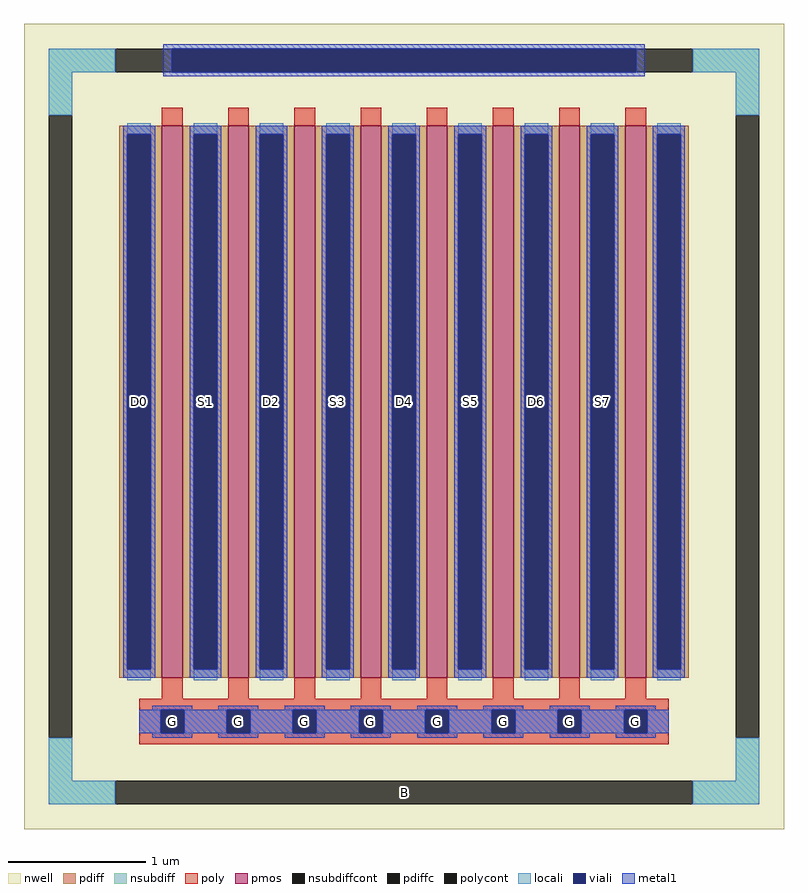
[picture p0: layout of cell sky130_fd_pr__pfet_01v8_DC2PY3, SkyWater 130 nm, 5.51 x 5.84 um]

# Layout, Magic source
magic
tech sky130A
magscale 1 2
<< nwell >>
rect -551 -584 551 584
<< pmos >>
rect -351 -364 -321 436
rect -255 -364 -225 436
rect -159 -364 -129 436
rect -63 -364 -33 436
rect 33 -364 63 436
rect 129 -364 159 436
rect 225 -364 255 436
rect 321 -364 351 436
<< pdiff >>
rect -413 424 -351 436
rect -413 -352 -401 424
rect -367 -352 -351 424
rect -413 -364 -351 -352
rect -321 424 -255 436
rect -321 -352 -305 424
rect -271 -352 -255 424
rect -321 -364 -255 -352
rect -225 424 -159 436
rect -225 -352 -209 424
rect -175 -352 -159 424
rect -225 -364 -159 -352
rect -129 424 -63 436
rect -129 -352 -113 424
rect -79 -352 -63 424
rect -129 -364 -63 -352
rect -33 424 33 436
rect -33 -352 -17 424
rect 17 -352 33 424
rect -33 -364 33 -352
rect 63 424 129 436
rect 63 -352 79 424
rect 113 -352 129 424
rect 63 -364 129 -352
rect 159 424 225 436
rect 159 -352 175 424
rect 209 -352 225 424
rect 159 -364 225 -352
rect 255 424 321 436
rect 255 -352 271 424
rect 305 -352 321 424
rect 255 -364 321 -352
rect 351 424 413 436
rect 351 -352 367 424
rect 401 -352 413 424
rect 351 -364 413 -352
<< pdiffc >>
rect -401 -352 -367 424
rect -305 -352 -271 424
rect -209 -352 -175 424
rect -113 -352 -79 424
rect -17 -352 17 424
rect 79 -352 113 424
rect 175 -352 209 424
rect 271 -352 305 424
rect 367 -352 401 424
<< nsubdiff >>
rect -515 514 -419 548
rect 419 514 515 548
rect -515 451 -481 514
rect 481 451 515 514
rect -515 -514 -481 -451
rect 481 -514 515 -451
rect -515 -548 -419 -514
rect 419 -548 515 -514
<< nsubdiffcont >>
rect -419 514 419 548
rect -515 -451 -481 451
rect 481 -451 515 451
rect -419 -548 419 -514
<< poly >>
rect -351 436 -321 462
rect -255 436 -225 462
rect -159 436 -129 462
rect -63 436 -33 462
rect 33 436 63 462
rect 129 436 159 462
rect 225 436 255 462
rect 321 436 351 462
rect -351 -395 -321 -364
rect -255 -395 -225 -364
rect -159 -395 -129 -364
rect -63 -395 -33 -364
rect 33 -395 63 -364
rect 129 -395 159 -364
rect 225 -395 255 -364
rect 321 -395 351 -364
rect -384 -411 384 -395
rect -384 -445 -353 -411
rect -319 -445 -257 -411
rect -223 -445 -161 -411
rect -127 -445 -65 -411
rect -31 -445 31 -411
rect 65 -445 127 -411
rect 161 -445 223 -411
rect 257 -445 319 -411
rect 353 -445 384 -411
rect -384 -461 384 -445
<< polycont >>
rect -353 -445 -319 -411
rect -257 -445 -223 -411
rect -161 -445 -127 -411
rect -65 -445 -31 -411
rect 31 -445 65 -411
rect 127 -445 161 -411
rect 223 -445 257 -411
rect 319 -445 353 -411
<< locali >>
rect -515 514 -419 548
rect 419 514 515 548
rect -515 451 -481 514
rect 481 451 515 514
rect -401 424 -367 440
rect -401 -368 -367 -352
rect -305 424 -271 440
rect -305 -368 -271 -352
rect -209 424 -175 440
rect -209 -368 -175 -352
rect -113 424 -79 440
rect -113 -368 -79 -352
rect -17 424 17 440
rect -17 -368 17 -352
rect 79 424 113 440
rect 79 -368 113 -352
rect 175 424 209 440
rect 175 -368 209 -352
rect 271 424 305 440
rect 271 -368 305 -352
rect 367 424 401 440
rect 367 -368 401 -352
rect -384 -445 -353 -411
rect -319 -445 -257 -411
rect -223 -445 -161 -411
rect -127 -445 -65 -411
rect -31 -445 31 -411
rect 65 -445 127 -411
rect 161 -445 223 -411
rect 257 -445 319 -411
rect 353 -445 384 -411
rect -515 -514 -481 -451
rect 481 -514 515 -451
rect -515 -548 -419 -514
rect 419 -548 515 -514
<< viali >>
rect -337 514 337 548
rect -401 -352 -367 424
rect -305 -352 -271 424
rect -209 -352 -175 424
rect -113 -352 -79 424
rect -17 -352 17 424
rect 79 -352 113 424
rect 175 -352 209 424
rect 271 -352 305 424
rect 367 -352 401 424
rect -353 -445 -319 -411
rect -257 -445 -223 -411
rect -161 -445 -127 -411
rect -65 -445 -31 -411
rect 31 -445 65 -411
rect 127 -445 161 -411
rect 223 -445 257 -411
rect 319 -445 353 -411
<< metal1 >>
rect -349 548 349 554
rect -349 514 -337 548
rect 337 514 349 548
rect -349 508 349 514
rect -407 424 -361 436
rect -407 -352 -401 424
rect -367 -352 -361 424
rect -407 -364 -361 -352
rect -311 424 -265 436
rect -311 -352 -305 424
rect -271 -352 -265 424
rect -311 -364 -265 -352
rect -215 424 -169 436
rect -215 -352 -209 424
rect -175 -352 -169 424
rect -215 -364 -169 -352
rect -119 424 -73 436
rect -119 -352 -113 424
rect -79 -352 -73 424
rect -119 -364 -73 -352
rect -23 424 23 436
rect -23 -352 -17 424
rect 17 -352 23 424
rect -23 -364 23 -352
rect 73 424 119 436
rect 73 -352 79 424
rect 113 -352 119 424
rect 73 -364 119 -352
rect 169 424 215 436
rect 169 -352 175 424
rect 209 -352 215 424
rect 169 -364 215 -352
rect 265 424 311 436
rect 265 -352 271 424
rect 305 -352 311 424
rect 265 -364 311 -352
rect 361 424 407 436
rect 361 -352 367 424
rect 401 -352 407 424
rect 361 -364 407 -352
rect -365 -411 -307 -405
rect -269 -411 -211 -405
rect -173 -411 -115 -405
rect -77 -411 -19 -405
rect 19 -411 77 -405
rect 115 -411 173 -405
rect 211 -411 269 -405
rect 307 -411 365 -405
rect -384 -445 -353 -411
rect -319 -445 -257 -411
rect -223 -445 -161 -411
rect -127 -445 -65 -411
rect -31 -445 31 -411
rect 65 -445 127 -411
rect 161 -445 223 -411
rect 257 -445 319 -411
rect 353 -445 384 -411
rect -365 -451 -307 -445
rect -269 -451 -211 -445
rect -173 -451 -115 -445
rect -77 -451 -19 -445
rect 19 -451 77 -445
rect 115 -451 173 -445
rect 211 -451 269 -445
rect 307 -451 365 -445
<< labels >>
rlabel nsubdiffcont 0 -531 0 -531 0 B
port 1 nsew
rlabel pdiffc -384 36 -384 36 0 D0
port 2 nsew
rlabel polycont -336 -428 -336 -428 0 G
port 3 nsew
rlabel pdiffc -288 36 -288 36 0 S1
port 4 nsew
rlabel polycont -240 -428 -240 -428 0 G
port 3 nsew
rlabel pdiffc -192 36 -192 36 0 D2
port 5 nsew
rlabel polycont -144 -428 -144 -428 0 G
port 3 nsew
rlabel pdiffc -96 36 -96 36 0 S3
port 6 nsew
rlabel polycont -48 -428 -48 -428 0 G
port 3 nsew
rlabel pdiffc 0 36 0 36 0 D4
port 7 nsew
rlabel polycont 48 -428 48 -428 0 G
port 3 nsew
rlabel pdiffc 96 36 96 36 0 S5
port 8 nsew
rlabel polycont 144 -428 144 -428 0 G
port 3 nsew
rlabel pdiffc 192 36 192 36 0 D6
port 9 nsew
rlabel polycont 240 -428 240 -428 0 G
port 3 nsew
rlabel pdiffc 288 36 288 36 0 S7
port 10 nsew
rlabel polycont 336 -428 336 -428 0 G
port 3 nsew
<< properties >>
string FIXED_BBOX -498 -531 498 531
string gencell sky130_fd_pr__pfet_01v8
string library sky130
string parameters w 4.0 l 0.15 m 1 nf 8 diffcov 100 polycov 100 guard 1 glc 1 grc 1 gtc 1 gbc 1 tbcov 100 rlcov 100 topc 0 botc 1 poverlap 0 doverlap 1 lmin 0.15 wmin 0.42 class mosfet compatible {sky130_fd_pr__pfet_01v8  sky130_fd_pr__pfet_01v8_lvt sky130_fd_pr__pfet_01v8_hvt  sky130_fd_pr__pfet_g5v0d10v5} full_metal 1 conn_gates 1 viasrc 100 viadrn 100 viagate 100 viagb 0 viagr 0 viagl 0 viagt 70 doports 1
<< end >>
